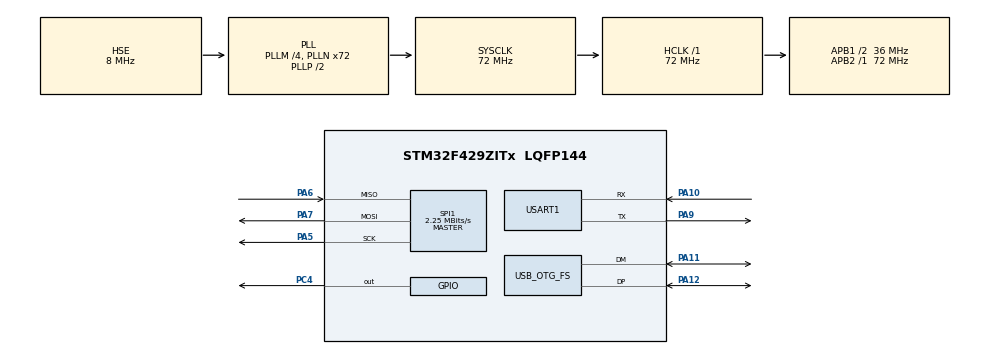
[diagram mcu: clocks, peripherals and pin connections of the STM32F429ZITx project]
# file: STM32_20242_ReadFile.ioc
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FATFS._MAX_SS=4096
FATFS._USE_LFN=1
Mcu.Family=STM32F4
Mcu.Name=STM32F429ZITx
Mcu.Package=LQFP144
NVIC.OTG_FS_IRQn=true\:0\:0\:false\:false\:true\:false\:true\:true
NVIC.PriorityGroup=NVIC_PRIORITYGROUP_4
NVIC.USART1_IRQn=true\:0\:0\:false\:false\:true\:true\:true\:true
PA10.Mode=Asynchronous
PA10.Signal=USART1_RX
PA11.Mode=Device_Only
PA11.Signal=USB_OTG_FS_DM
PA12.Mode=Device_Only
PA12.Signal=USB_OTG_FS_DP
PA5.Mode=Full_Duplex_Master
PA5.Signal=SPI1_SCK
PA6.Mode=Full_Duplex_Master
PA6.Signal=SPI1_MISO
PA7.Mode=Full_Duplex_Master
PA7.Signal=SPI1_MOSI
PA9.Mode=Asynchronous
PA9.Signal=USART1_TX
PC4.Signal=GPIO_Output
PH0/OSC_IN.Mode=HSE-External-Oscillator
PH0/OSC_IN.Signal=RCC_OSC_IN
PH1/OSC_OUT.Mode=HSE-External-Oscillator
PH1/OSC_OUT.Signal=RCC_OSC_OUT
ProjectManager.HeapSize=0x200
ProjectManager.StackSize=0x400
ProjectManager.TargetToolchain=STM32CubeIDE
RCC.48MHZClocksFreq_Value=48000000
RCC.AHBFreq_Value=72000000
RCC.APB1CLKDivider=RCC_HCLK_DIV2
RCC.APB1Freq_Value=36000000
RCC.APB1TimFreq_Value=72000000
RCC.APB2Freq_Value=72000000
RCC.APB2TimFreq_Value=72000000
RCC.CortexFreq_Value=72000000
RCC.HCLKFreq_Value=72000000
RCC.HSE_VALUE=8000000
RCC.HSI_VALUE=16000000
RCC.LSE_VALUE=32768
RCC.PLLM=4
RCC.PLLN=72
RCC.PLLQ=3
RCC.SYSCLKFreq_VALUE=72000000
RCC.SYSCLKSource=RCC_SYSCLKSOURCE_PLLCLK
RCC.VCOOutputFreq_Value=144000000
SPI1.BaudRatePrescaler=SPI_BAUDRATEPRESCALER_32
SPI1.CalculateBaudRate=2.25 MBits/s
SPI1.Direction=SPI_DIRECTION_2LINES
SPI1.Mode=SPI_MODE_MASTER
SPI1.VirtualType=VM_MASTER
USART1.VirtualMode=VM_ASYNC
USB_DEVICE.CLASS_NAME_FS=MSC
USB_DEVICE.VirtualMode-MSC_FS=Msc
USB_DEVICE.VirtualModeFS=Msc_FS
USB_OTG_FS.VirtualMode=Device_Only
VP_FATFS_VS_Generic.Mode=User_defined
VP_USB_DEVICE_VS_USB_DEVICE_MSC_FS.Mode=MSC_FS
board=custom

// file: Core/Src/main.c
/* USER CODE BEGIN Header */
/**
  ******************************************************************************
  * @file           : main.c
  * @brief          : Main program body
  ******************************************************************************
  * @attention
  *
  * Copyright (c) 2025 STMicroelectronics.
  * All rights reserved.
  *
  * This software is licensed under terms that can be found in the LICENSE file
  * in the root directory of this software component.
  * If no LICENSE file comes with this software, it is provided AS-IS.
  *
  ******************************************************************************
  */
/* USER CODE END Header */
#include "main.h"
#include "fatfs.h"
#include "usb_device.h"
#include "string.h"
#include "fatfs_sd.h"
#include "stm32f4xx_hal.h"
#include <stdint.h>

/* USER CODE BEGIN PTD */
//#define f_size(fp)  ((fp)->obj.objsize)

/* USER CODE END PTD */

SPI_HandleTypeDef hspi1;

UART_HandleTypeDef huart1;

void SystemClock_Config(void);
static void MX_GPIO_Init(void);
static void MX_SPI1_Init(void);
static void MX_USART1_UART_Init(void);
/* USER CODE BEGIN PFP */
void SD_List_File(void);
void SD_creatSubDir(char* filename);
void SD_deleteFolder(char* foldername);
/* USER CODE END PFP */

/* USER CODE BEGIN 0 */
FATFS fs;
FIL fil;
FRESULT fresult;
char buffer[1024];

UINT br, bw;

// capacity
FATFS *pfs;
DWORD fre_clust;
uint32_t total, free_space;
char option[4];
char namebuf[128];
char filebuf[1024];
FRESULT fres;
// to send data to uart
void send_uart(char *string)
{
	/*
	uint16_t len = strlen(string);
	memset(buf2, 0, sizeof(buf2));
	HAL_UART_Transmit(&huart1, (uint8_t)* string, len, 2000);
	*/
	uint16_t len = strlen(string);
  char buf1[len];
  memset(buf1, 0, sizeof(buf1));
  strcpy(buf1, string);
  HAL_UART_Transmit(&huart1,(char*) buf1, sizeof(buf1), 2000);

}

int bufsize(char *buf){
	int i=0;
	while (*buf++ != '\0' )i++;

	return i;
}
void bufclear(void){
	for (int i=0;i<1024;i++){
		buffer[i] = '\0';
	}
}

void clear_buffer (void)
{
	for (int i=0; i<1024; i++) buffer[i] = '\0';
}

// Hàm nhận chuỗi từ UART (blocking, kết thúc khi gặp '!' hoặc '\n')
void uart_receive_string(char* buf, uint16_t maxlen) {
    uint16_t i = 0;
    char c;
    while (i < maxlen - 1) {
        HAL_UART_Receive(&huart1, (uint8_t*)&c, 1, HAL_MAX_DELAY);
        if (c == '!' || c == '\n') break;
        buf[i++] = c;
        HAL_UART_Transmit(&huart1, (uint8_t*)&c, 1, 100); // Echo lại ký tự
    }
    buf[i] = '\0';
    char crlf[2] = "\r\n";
    HAL_UART_Transmit(&huart1, (uint8_t*)crlf, 2, 100);
}

// Hàm nhận 1 ký tự từ UART (dùng cho chọn option)
char uart_receive_char(void) {
    char c;
    HAL_UART_Receive(&huart1, (uint8_t*)&c, 1, HAL_MAX_DELAY);
    HAL_UART_Transmit(&huart1, (uint8_t*)&c, 1, 100); // Echo lại ký tự
    char crlf[2] = "\r\n";
    HAL_UART_Transmit(&huart1, (uint8_t*)crlf, 2, 100);
    return c;
}
/* USER CODE END 0 */

int main(void)
{

  /* MCU Configuration--------------------------------------------------------*/

  /* Reset of all peripherals, Initializes the Flash interface and the Systick. */
  HAL_Init();

  /* Configure the system clock */
  SystemClock_Config();

  /* Initialize all configured peripherals */
  MX_GPIO_Init();
  MX_SPI1_Init();
  MX_USART1_UART_Init();
  MX_FATFS_Init();
  MX_USB_DEVICE_Init();
  /* USER CODE BEGIN 2 */
  HAL_Delay(500);
  // Mount the SD card
/*
  fresult = f_mount(&fs, "", 0);  // Changed to "0:" and force mount
  if (fresult != FR_OK) {
    switch(fresult) {
      case FR_DISK_ERR:
        send_uart("Error: Disk error\n");
        break;
      case FR_INT_ERR:
        send_uart("Error: Internal error\n");
        break;
      case FR_NOT_READY:
        send_uart("Error: Not ready\n");
        break;
      case FR_NO_FILESYSTEM:
        send_uart("Error: No valid FAT volume\n");
        break;
      default:
        sprintf(buffer, "Error mounting SD card: %d\n", fresult);
        send_uart(buffer);
    }
    Error_Handler();
  }
  send_uart("SD Card mounted successfully\n");

/* Open file to write */
  // check free space
  /*
  f_getfree("", &fre_clust, &pfs);
  total = (uint32_t)((pfs->n_fatent -2)* pfs->csize*0.5);
  sprintf(buffer, "SD Card total size: \t%lu\n", total);
  send_uart(buffer);
  bufclear();
  free_space = (uint32_t)(fre_clust * pfs->csize * 0.5);
  sprintf(buffer, "SD_CARD Free Space: \t%lu\n", free_space);
  send_uart(buffer);

  // open a file or create if not existing
  fresult = f_open(&fil, "file1.txt", FA_OPEN_ALWAYS | FA_READ | FA_WRITE);

  // WRITE TEXT
  fresult = f_puts("This data is from the first file \n\n", &fil);

  // close
  fresult = f_close(&fil);
  //
  send_uart ("file1.txt created and the data is written\n");

  // open file to read
  fresult = f_open(&fil, "file1.txt", FA_READ);

  // read string from the file
  f_gets(buffer, fil.buf, &fil);

  send_uart(buffer);
  // close file
  f_close(&fil);
  bufclear();

 //----------Update a file-------------/
  fresult = f_open(&fil, 'file1.txt', FA_OPEN_EXISTING | FA_READ | FA_WRITE);

  // move to the end
  fresult = f_lseek(&fil, fil.obj.objsize); // xem lai de la f.size

  // write to string to file
  fresult = f_puts("This is updated area and it should be at the end\n", &fil);

  f_close(&fil);

  // open to read
  fresult = f_open(&fil, "file1.txt", FA_READ);

  // read from string
  f_read(&fil, buffer, fil.buf, &br);
  send_uart(buffer);

  // close file
  f_close(&fil);

  bufclear();

  //-----------------Delete from Card-----------------/
  fresult = f_unlink("/file1.txt");
  if (fresult == FR_OK){
	  send_uart("file1.txt removed sucessfully\n");
  }

//   fresult = f_mount(&fs, "/", 1);
//     	if (fresult != FR_OK) send_uart ("ERROR in mounting SD CARD...\n\n");
//     	else send_uart("SD CARD mounted successfully...\n\n");

//     	/*************** Card capacity details ********************/

//     	/* Check free space */
//     	f_getfree("", &fre_clust, &pfs);

//     	total = (uint32_t)((pfs->n_fatent - 2) * pfs->csize * 0.5);
//     	sprintf (buffer, "SD CARD Total Size: \t%lu\n",total);
//     	send_uart(buffer);
//     	clear_buffer();
//     	free_space = (uint32_t)(fre_clust * pfs->csize * 0.5);
//     	sprintf (buffer, "SD CARD Free Space: \t%lu\n\n",free_space);
//     	send_uart(buffer);
//     	clear_buffer();

// /*

//     	/************* The following operation is using PUTS and GETS *********************/

//     	/* Open file to write/ create a file if it doesn't exist */
//         fresult = f_open(&fil, "file1.txt", FA_OPEN_ALWAYS | FA_READ | FA_WRITE);

//     	/* Writing text */
//     	f_puts("This data is from the FILE1.txt. And it was written using ...f_puts... ", &fil);

//     	/* Close file */
//     	fresult = f_close(&fil);

//     	if (fresult == FR_OK)send_uart ("File1.txt created and the data is written \n");

//     	/* Open file to read */
//     	fresult = f_open(&fil, "file1.txt", FA_READ);

//     	/* Read string from the file */
//     	f_gets(buffer, f_size(&fil), &fil);

//     	send_uart("File1.txt is opened and it contains the data as shown below\n");
//     	send_uart(buffer);
//     	send_uart("\n\n");

//     	/* Close file */
//     	f_close(&fil);

//     	clear_buffer();

//     	/**************** The following operation is using f_write and f_read **************************/

//     	/* Create second file with read write access and open it */
//     	fresult = f_open(&fil, "file2.txt", FA_CREATE_ALWAYS | FA_WRITE);

//     	/* Writing text */
//     	strcpy (buffer, "This is File2.txt, written using f_write and said Hello World\n");

//     	fresult = f_write(&fil, buffer, bufsize(buffer), &bw);

//     	send_uart ("File2.txt created and data is written\n");

//     	/* Close file */
//     	f_close(&fil);

//     	// clearing buffer to show that result obtained is from the file
//     	clear_buffer();

//     	/* Open second file to read */
//     	fresult = f_open(&fil, "file2.txt", FA_READ);
//     	if (fresult == FR_OK)send_uart ("file2.txt is open and the data is shown below\n");

//     	/* Read data from the file
//     	 * Please see the function details for the arguments */
//     	f_read (&fil, buffer, f_size(&fil), &br);
//     	send_uart(buffer);
//     	send_uart("\n\n");

//     	/* Close file */
//     	f_close(&fil);

//     	clear_buffer();

//     	/*********************UPDATING an existing file ***************************/

//     	/* Open the file with write access */
//     	fresult = f_open(&fil, "file2.txt", FA_OPEN_EXISTING | FA_READ | FA_WRITE);

//     	/* Move to offset to the end of the file */
//     	fresult = f_lseek(&fil, f_size(&fil));

//     	if (fresult == FR_OK)send_uart ("About to update the file2.txt\n");

//     	/* write the string to the file */
//     	fresult = f_puts("This is updated data and it should be in the end", &fil);

//     	f_close (&fil);

//     	clear_buffer();

//     	/* Open to read the file */
//     	fresult = f_open (&fil, "file2.txt", FA_READ);

//     	/* Read string from the file */
//     	fresult = f_read (&fil, buffer, f_size(&fil), &br);
//     	if (fresult == FR_OK)send_uart ("Below is the data from updated file2.txt\n");
//     	send_uart(buffer);
//     	send_uart("\n\n");

//     	/* Close file */
//     	f_close(&fil);

//     	clear_buffer();

//     	/*

//     	/*************************REMOVING FILES FROM THE DIRECTORY ****************************/
//     	/*
//     	fresult = f_unlink("/file1.txt");
//     	if (fresult == FR_OK) send_uart("file1.txt removed successfully...\n");

//     	fresult = f_unlink("/file2.txt");
//     	if (fresult == FR_OK) send_uart("file2.txt removed successfully...\n");

//     	/* Unmount SDCARD */
//     	/*
//     	fresult = f_mount(NULL, "/", 1);
//     	if (fresult == FR_OK) send_uart ("SD CARD UNMOUNTED successfully...\n");
//     	*/
//     /****************CREATE A NEW SUB DIR************* */

    fresult = f_mount(&fs, "/", 1);
      	if (fresult != FR_OK) send_uart ("ERROR in mounting SD CARD...\n\n");
      	else send_uart("SD CARD mounted successfully...\n\n");

      	/*************** Card capacity details ********************/

      	/* Check free space */
      	f_getfree("", &fre_clust, &pfs);

      	total = (uint32_t)((pfs->n_fatent - 2) * pfs->csize * 0.5);
      	sprintf (buffer, "SD CARD Total Size: \t%lu\n",total);
      	send_uart(buffer);
      	clear_buffer();
      	free_space = (uint32_t)(fre_clust * pfs->csize * 0.5);
      	sprintf (buffer, "SD CARD Free Space: \t%lu\n\n",free_space);
      	send_uart(buffer);
      	clear_buffer();
//
//    	/* Open the file with write access */
//        	fresult = f_open(&fil, "file2.txt", FA_OPEN_EXISTING | FA_READ | FA_WRITE);
//
//        	/* Move to offset to the end of the file */
//        	fresult = f_lseek(&fil, f_size(&fil));
//
//        	if (fresult == FR_OK)send_uart ("About to update the file2.txt\n");
//
//        	/* write the string to the file */
//        	fresult = f_puts("This is updated data and it should be in the end", &fil);
//
//        	f_close (&fil);
//
//        	clear_buffer();

  /* USER CODE END 2 */

  /* Infinite loop */
  while (1)
  {

	  send_uart("==== SD Card Menu ====\r\n");
	       send_uart("0. Stop program\r\n");
	       send_uart("1. List files\r\n");
	       send_uart("2. Create directory\r\n");
	       send_uart("3. Delete directory\r\n");
	       send_uart("4. Create file \r\n");
	       send_uart("5. Delete file\r\n");
	       send_uart("6. Update an existing file\r\n");
	       send_uart("Please enter option number: ");

	       char opt = uart_receive_char();

	       switch (opt) {
	           case '0':
	               send_uart("Stopping program.\r\n");
	               while(1); // Dừng chương trình
	               break;
	           case '1':
	               send_uart("Files on SD card:\r\n");
	               SD_List_File();
	               break;
	           case '2':
	               send_uart("Please enter directory name: ");
	               uart_receive_string(namebuf, sizeof(namebuf));
	               SD_creatSubDir(namebuf);
	               send_uart("Directory created!\r\n");
	               break;
	           case '3':
	               send_uart("Please enter directory name to delete: ");
	               uart_receive_string(namebuf, sizeof(namebuf));
	               SD_deleteFolder(namebuf);
	               send_uart("Directory deleted!\r\n");
	               break;
	           case '4':
	               send_uart("Please enter file name to create: ");
	               uart_receive_string(namebuf, sizeof(namebuf));
	               fres = f_open(&fil, namebuf, FA_CREATE_ALWAYS | FA_WRITE);
	               if (fres == FR_OK) {
	                   send_uart("Enter content (end with !):\r\n");

	                   uart_receive_string(filebuf, sizeof(filebuf));
	                   fres = f_write(&fil, filebuf, bufsize(filebuf), &bw);
	                   if (fres == FR_OK) send_uart("File created and written!\r\n");
	                   else send_uart("Failed to write file!\r\n");
	                   f_close(&fil);
	               } else {
	                   send_uart("Failed to create file!\r\n");
	               }
	               break;
	           case '5':
	               send_uart("Please enter file name to delete: ");
	               uart_receive_string(namebuf, sizeof(namebuf));
	               char pathbuf[64] = {0};
                 snprintf(pathbuf, sizeof(pathbuf), "/%s", namebuf);
	               fres = f_unlink(pathbuf);
	               if (fres == FR_OK) send_uart("File deleted!\r\n");
	               else send_uart("Failed to delete file!\r\n");
	               break;

	           case '6':
	               send_uart("Please enter file name to update: ");
	               uart_receive_string(namebuf, sizeof(namebuf));
	               fres = f_open(&fil, namebuf, FA_OPEN_EXISTING | FA_WRITE | FA_READ);
	               if (fres == FR_OK) {
	                   f_lseek(&fil, f_size(&fil));
	                   memset(filebuf, '0', sizeof(filebuf));
	                   send_uart("Enter content to append (end with !):\r\n");

	                   uart_receive_string(filebuf, sizeof(filebuf));
	                   fres = f_puts(filebuf, &fil);
	                   //f_close(&fil);
//	                   if (fres == FR_OK)
//	                   {send_uart("File updated!\r\n");}
//	                   else
//	                   {send_uart("Failed to update file!\r\n");}
	                   f_close(&fil);
	               } else {
	                   send_uart("Failed to open file for update!\r\n");
	               }
	               break;
	           default:
	               send_uart("Invalid option!\r\n");
	               break;
	       }

  }
}

void SystemClock_Config(void)
{
  RCC_OscInitTypeDef RCC_OscInitStruct = {0};
  RCC_ClkInitTypeDef RCC_ClkInitStruct = {0};

  /** Configure the main internal regulator output voltage
  */
  __HAL_RCC_PWR_CLK_ENABLE();
  __HAL_PWR_VOLTAGESCALING_CONFIG(PWR_REGULATOR_VOLTAGE_SCALE3);

  /** Initializes the RCC Oscillators according to the specified parameters
  * in the RCC_OscInitTypeDef structure.
  */
  RCC_OscInitStruct.OscillatorType = RCC_OSCILLATORTYPE_HSE;
  RCC_OscInitStruct.HSEState = RCC_HSE_ON;
  RCC_OscInitStruct.PLL.PLLState = RCC_PLL_ON;
  RCC_OscInitStruct.PLL.PLLSource = RCC_PLLSOURCE_HSE;
  RCC_OscInitStruct.PLL.PLLM = 4;
  RCC_OscInitStruct.PLL.PLLN = 72;
  RCC_OscInitStruct.PLL.PLLP = RCC_PLLP_DIV2;
  RCC_OscInitStruct.PLL.PLLQ = 3;
  if (HAL_RCC_OscConfig(&RCC_OscInitStruct) != HAL_OK)
  {
    Error_Handler();
  }

  /** Initializes the CPU, AHB and APB buses clocks
  */
  RCC_ClkInitStruct.ClockType = RCC_CLOCKTYPE_HCLK|RCC_CLOCKTYPE_SYSCLK
                              |RCC_CLOCKTYPE_PCLK1|RCC_CLOCKTYPE_PCLK2;
  RCC_ClkInitStruct.SYSCLKSource = RCC_SYSCLKSOURCE_PLLCLK;
  RCC_ClkInitStruct.AHBCLKDivider = RCC_SYSCLK_DIV1;
  RCC_ClkInitStruct.APB1CLKDivider = RCC_HCLK_DIV2;
  RCC_ClkInitStruct.APB2CLKDivider = RCC_HCLK_DIV1;

  if (HAL_RCC_ClockConfig(&RCC_ClkInitStruct, FLASH_LATENCY_2) != HAL_OK)
  {
    Error_Handler();
  }
}

static void MX_SPI1_Init(void)
{

  /* SPI1 parameter configuration*/
  hspi1.Instance = SPI1;
  hspi1.Init.Mode = SPI_MODE_MASTER;
  hspi1.Init.Direction = SPI_DIRECTION_2LINES;
  hspi1.Init.DataSize = SPI_DATASIZE_8BIT;
  hspi1.Init.CLKPolarity = SPI_POLARITY_LOW;
  hspi1.Init.CLKPhase = SPI_PHASE_1EDGE;
  hspi1.Init.NSS = SPI_NSS_SOFT;
  hspi1.Init.BaudRatePrescaler = SPI_BAUDRATEPRESCALER_32;
  hspi1.Init.FirstBit = SPI_FIRSTBIT_MSB;
  hspi1.Init.TIMode = SPI_TIMODE_DISABLE;
  hspi1.Init.CRCCalculation = SPI_CRCCALCULATION_DISABLE;
  hspi1.Init.CRCPolynomial = 10;
  if (HAL_SPI_Init(&hspi1) != HAL_OK)
  {
    Error_Handler();
  }

}

static void MX_USART1_UART_Init(void)
{

  huart1.Instance = USART1;
  huart1.Init.BaudRate = 115200;
  huart1.Init.WordLength = UART_WORDLENGTH_8B;
  huart1.Init.StopBits = UART_STOPBITS_1;
  huart1.Init.Parity = UART_PARITY_NONE;
  huart1.Init.Mode = UART_MODE_TX_RX;
  huart1.Init.HwFlowCtl = UART_HWCONTROL_NONE;
  huart1.Init.OverSampling = UART_OVERSAMPLING_16;
  if (HAL_UART_Init(&huart1) != HAL_OK)
  {
    Error_Handler();
  }

}

static void MX_GPIO_Init(void)
{
  GPIO_InitTypeDef GPIO_InitStruct = {0};

  /* GPIO Ports Clock Enable */
  __HAL_RCC_GPIOH_CLK_ENABLE();
  __HAL_RCC_GPIOA_CLK_ENABLE();
  __HAL_RCC_GPIOC_CLK_ENABLE();

  /*Configure GPIO pin Output Level */
  HAL_GPIO_WritePin(GPIOC, GPIO_PIN_4, GPIO_PIN_RESET);

  /*Configure GPIO pin : PC4 */
  GPIO_InitStruct.Pin = GPIO_PIN_4;
  GPIO_InitStruct.Mode = GPIO_MODE_OUTPUT_PP;
  GPIO_InitStruct.Pull = GPIO_NOPULL;
  GPIO_InitStruct.Speed = GPIO_SPEED_FREQ_LOW;
  HAL_GPIO_Init(GPIOC, &GPIO_InitStruct);

}

void Error_Handler(void)
{
  __disable_irq();
  while (1)
  {
  }
}
